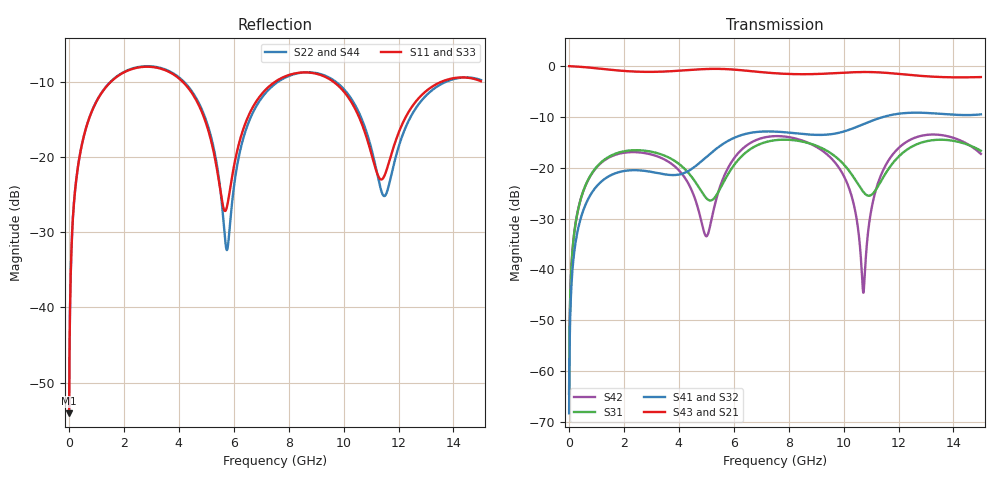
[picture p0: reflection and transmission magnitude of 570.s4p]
! Created with skrf 1.8.0 (http://scikit-rf.org).
# GHz S RI R 50.0
!freq ReS11 ImS11 ReS12 ImS12 ReS13 ImS13
! ReS14 ImS14
! ReS21 ImS21 ReS22 ImS22 ReS23 ImS23
! ReS24 ImS24
! ReS31 ImS31 ReS32 ImS32 ReS33 ImS33
! ReS34 ImS34
! ReS41 ImS41 ReS42 ImS42 ReS43 ImS43
! ReS44 ImS44
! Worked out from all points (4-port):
!   2499 points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, 5 MHz to 15 GHz, reference 50 ohm
!   strongest paths, dB at 5 MHz, 3.476 GHz, 7.19 GHz, 11.1 GHz, 15 GHz:
!     S43: 0.0, -1.1, -1.3, -1.2, -2.2
!     S21: 0.0, -1.1, -1.3, -1.2, -2.2
!     S41: -68.3, -21.3, -12.9, -10.6, -9.5
!     S32: -68.3, -21.4, -12.9, -10.6, -9.5
!     S31: -64.5, -17.6, -14.9, -24.9, -16.7
!     S42: -64.5, -18.4, -14.0, -26.0, -17.3
!   lowest |S11| = -54.1 dB at 5 MHz (marker M1), VSWR 1.00, Z = 50.2 + j0.121 ohm
!   |S11| at or under -10 dB: start of sweep to 1.535 GHz; 4.131 GHz to 7.52 GHz (3.389 GHz wide, 58.2 % of centre); 9.619 GHz to 13.58 GHz (3.963 GHz wide, 34.2 % of centre)
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0.005  0.00157 0.0012  0.9984 -0.00307  7.78e-05 0.000591  -7.57e-05 -0.000376
       0.9984 -0.00307  0.00158 0.0012  -7.57e-05 -0.000376  7.77e-05 0.000591
       7.78e-05 0.000591  -7.57e-05 -0.000376  0.00157 0.0012  0.9984 -0.00307
       -7.57e-05 -0.000376  7.77e-05 0.000591  0.9984 -0.00307  0.00158 0.0012
0.3126303  0.0224 0.0794  0.9695 -0.1911  0.0101 0.0352  -0.00817 -0.0222
           0.9695 -0.1911  0.0225 0.0794  -0.00816 -0.0222  0.0094 0.0353
           0.0101 0.0352  -0.00816 -0.0222  0.0224 0.0794  0.9695 -0.1911
           -0.00817 -0.0222  0.0094 0.0353  0.9695 -0.1911  0.0225 0.0794
1.519383  0.2517 0.1882  0.5883 -0.7069  0.1184 0.0563  -0.0834 -0.0125
          0.5883 -0.7069  0.2545 0.1864  -0.0832 -0.0127  0.1095 0.0672
          0.1184 0.0563  -0.0832 -0.0127  0.2517 0.1881  0.5884 -0.7069
          -0.0834 -0.0125  0.1095 0.0672  0.5884 -0.7069  0.2544 0.1865
5.527303  0.0451 -0.0355  -0.9256 -0.1513  -0.0425 0.0478  -0.0237 0.1639
          -0.9256 -0.1513  0.0264 -0.0509  -0.0264 0.1635  0.0249 0.0635
          -0.0425 0.0478  -0.0264 0.1635  0.0443 -0.0344  -0.9257 -0.1512
          -0.0237 0.1639  0.0249 0.0635  -0.9257 -0.1512  0.0266 -0.0499
8.909962  0.3554 -0.0523  0.0351 0.8336  0.1398 -0.0939  0.1963 -0.077
          0.0351 0.8336  0.359 -0.0479  0.1965 -0.0706  0.1455 -0.0798
          0.1398 -0.0939  0.1965 -0.0706  0.356 -0.0538  0.0341 0.8339
          0.1963 -0.077  0.1455 -0.0798  0.0341 0.8339  0.3576 -0.0455
10.71697  0.1106 -0.1102  0.7421 0.4615  -0.0489 -0.031  0.1307 -0.2339
          0.7421 0.4615  0.1065 -0.13  0.1393 -0.2288  -0.00576 -0.00121
          -0.0489 -0.031  0.1393 -0.2288  0.1071 -0.11  0.7418 0.4627
          0.1307 -0.2339  -0.00576 -0.00121  0.7418 0.4627  0.1079 -0.1269
15  0.3093 -0.0726  -0.1131 -0.772  0.0575 -0.1353  -0.3209 0.0961
    -0.1131 -0.772  0.3163 -0.0687  -0.3238 0.0793  0.0669 -0.1194
    0.0575 -0.1353  -0.3238 0.0793  0.312 -0.0736  -0.1088 -0.7724
    -0.3209 0.0961  0.0669 -0.1194  -0.1088 -0.7724  0.3165 -0.0648
